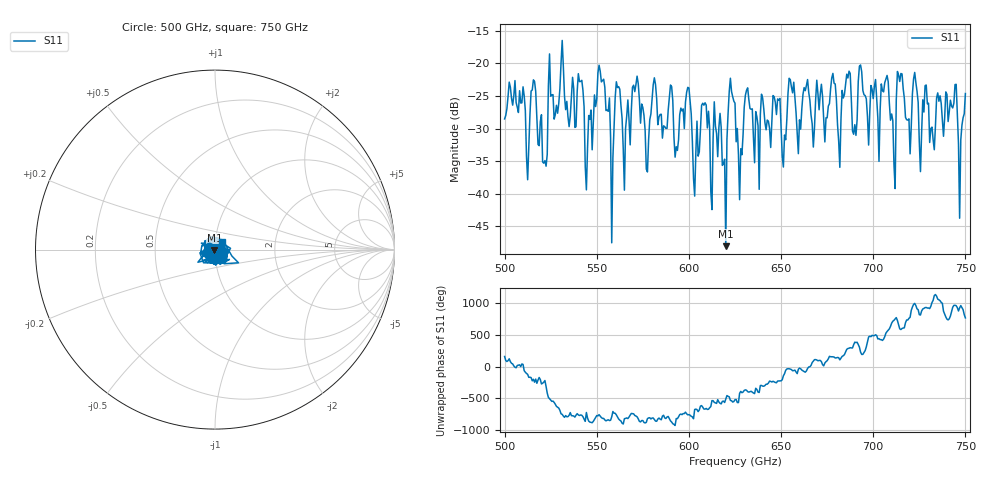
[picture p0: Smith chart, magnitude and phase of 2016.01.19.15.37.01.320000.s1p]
!Created with skrf (http://scikit-rf.org).
# GHz S RI R 50.0
!freq ReS11 ImS11
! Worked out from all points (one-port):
!   401 points, 500 GHz to 750 GHz, reference 50 ohm
!   lowest |S11| = -48.1 dB at 620 GHz (marker M1), VSWR 1.01, Z = 49.7 - j0.199 ohm
!   |S11| at or under -10 dB: start of sweep to end of sweep
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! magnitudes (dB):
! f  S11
! 500 GHz  -28.5
! 512.5 GHz  -37.9
! 515.6 GHz  -22.5
! 521.9 GHz  -34.9
! 525 GHz  -25.0
! 531.2 GHz  -16.5
! 541.2 GHz  -22.8
! 545 GHz  -32.9
! 551.9 GHz  -21.2
! 558.1 GHz  -47.6
! 562.5 GHz  -24.0
! 593.8 GHz  -33.4
! 599.4 GHz  -23.7
! 603.8 GHz  -33.7
! 608.1 GHz  -26.4
! 620 GHz  -48.1
! 622.5 GHz  -22.3
! 625 GHz  -26.1
! 651.2 GHz  -35.9
! 656.2 GHz  -24.5
! 687.5 GHz  -21.5
! 706.9 GHz  -22.4
! 710.6 GHz  -28.8
! 714.4 GHz  -22.8
! 718.8 GHz  -28.7
! 743.8 GHz  -26.1
! 747.5 GHz  -31.8
! 750 GHz  -24.6
